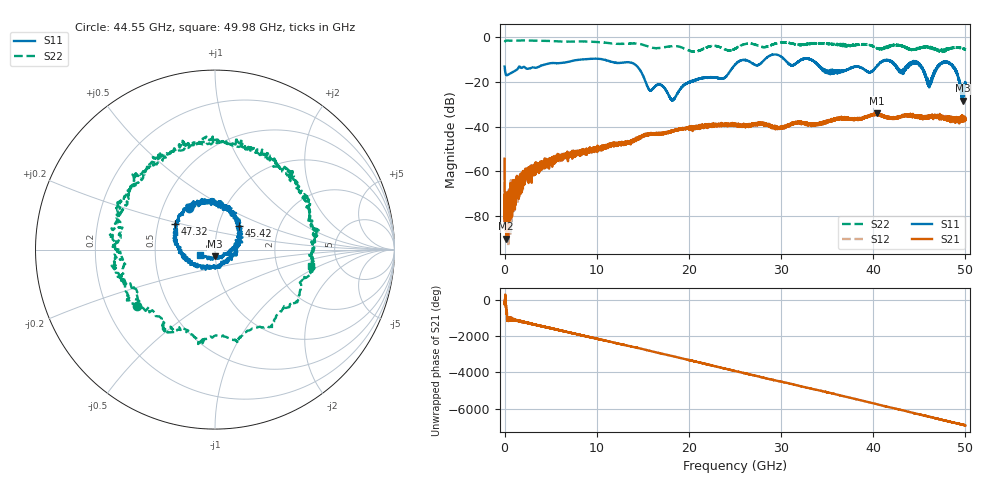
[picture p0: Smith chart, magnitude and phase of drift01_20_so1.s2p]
!Created with skrf (http://scikit-rf.org).
# Hz S RI R 50.0
!freq ReS11 ImS11 ReS21 ImS21 ReS12 ImS12 ReS22 ImS22
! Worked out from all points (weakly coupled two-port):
!   10001 points, 300 kHz to 50 GHz, reference 50 ohm
!   highest |S21| = -34.05 dB at 40.37 GHz (marker M1); lowest = -90.1 dB at 175.3 MHz (marker M2)
!   lowest |S11| = -28.3 dB at 49.72 GHz (marker M3), VSWR 1.08, Z = 49.9 - j3.83 ohm
!   |S11| at or under -10 dB: start of sweep to 8.048 GHz; 10.87 GHz to 26.01 GHz (15.15 GHz wide, 82.1 % of centre); 33.27 GHz to end of sweep (the widest 3 of 10)
!   |S22| runs from -6.5 to -1.4 dB; largest |S21 - S12| = 0.004
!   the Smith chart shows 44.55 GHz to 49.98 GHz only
!   S11 on the Smith chart (normalised r, x): 44.55 GHz: 0.68, +0.34; 45.42 GHz: 1.26, +0.35; 47.32 GHz: 0.62, +0.19; 49.98 GHz: 0.84, -0.05
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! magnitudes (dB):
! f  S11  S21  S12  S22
! 300 kHz  -13.1  -54.3  -59.5  -2.1
! 175.3 MHz  -16.9  -90.1  -77.2  -1.4
! 3.195 GHz  -13.5  -61.7  -57.8  -1.5
! 8.335 GHz  -9.9  -50.8  -51.4  -1.8
! 13.78 GHz  -11.4  -46.6  -46.9  -2.7
! 15.73 GHz  -23.5  -43.7  -43.3  -4.3
! 16.67 GHz  -21.1  -43.4  -43.0  -4.8
! 18.25 GHz  -27.9  -42.1  -41.9  -3.9
! 25 GHz  -12.2  -38.8  -38.8  -5.1
! 33.34 GHz  -10.1  -38.6  -38.7  -2.6
! 35.11 GHz  -15.4  -37.6  -37.5  -2.8
! 40.37 GHz  -13.1  -34.1  -34.4  -4.8
! 41.67 GHz  -10.3  -35.6  -35.7  -4.3
! 43.07 GHz  -15.4  -35.5  -35.4  -3.6
! 44.55 GHz  -11.2  -35.3  -35.2  -5.4
! 45.42 GHz  -14.4  -35.5  -35.8  -4.1
! 46.12 GHz  -20.2  -35.1  -35.4  -4.4
! 47.32 GHz  -11.6  -35.3  -36.3  -6.4
! 48.65 GHz  -12.7  -36.7  -36.7  -4.8
! 49.72 GHz  -28.3  -35.8  -36.3  -5.1
! 49.98 GHz  -20.9  -36.1  -35.8  -5.3
! 50 GHz  -20.7  -36.7  -35.8  -5.4
